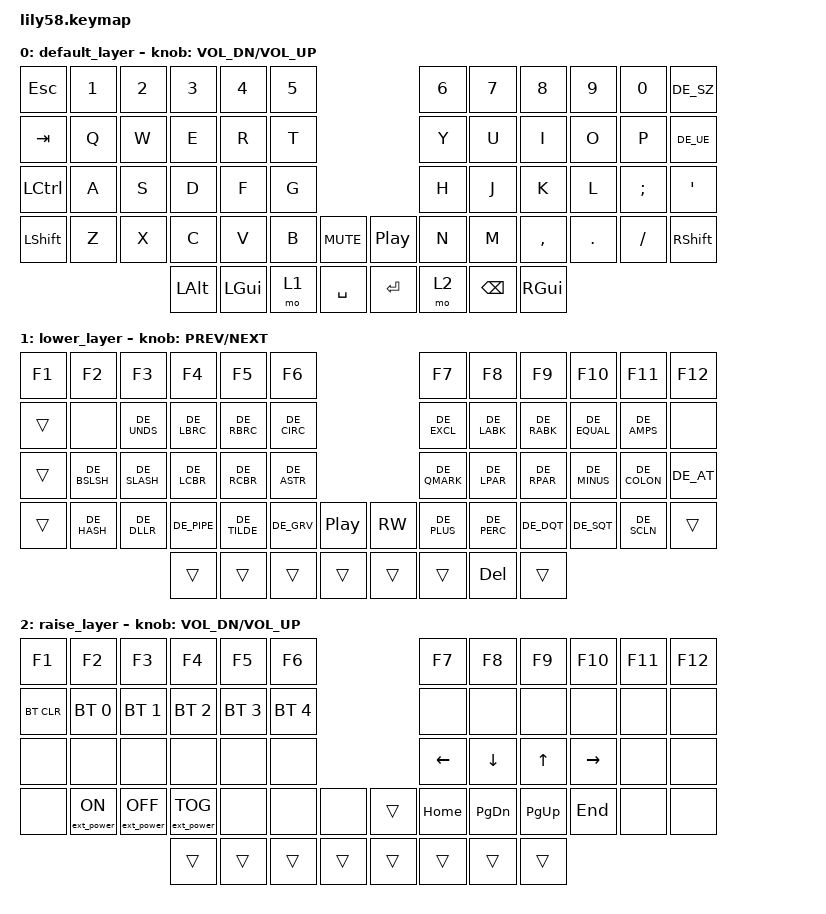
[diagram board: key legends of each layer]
/*
 * Copyright (c) 2020 The ZMK Contributors
 *
 * SPDX-License-Identifier: MIT
 */

#include <behaviors.dtsi>
#include <dt-bindings/zmk/keys.h>
#include <dt-bindings/zmk/bt.h>
#include <dt-bindings/zmk/ext_power.h>
#include "german.keycodes"

/ {
	keymap {
		compatible = "zmk,keymap";

		default_layer {
// ------------------------------------------------------------------------------------------------------------
// |  ESC  |  1  |  2  |  3   |  4   |  5   |                   |  6   |  7    |  8    |  9   |   0   |   `   |
// |  TAB  |  Q  |  W  |  E   |  R   |  T   |                   |  Y   |  U    |  I    |  O   |   P   |   -   |
// |  CTRL |  A  |  S  |  D   |  F   |  G   |                   |  H   |  J    |  K    |  L   |   ;   |   '   |
// | SHIFT |  Z  |  X  |  C   |  V   |  B   |  MUTE  |  |       |  N   |  M    |  ,    |  .   |   /   | SHIFT |
//                     | ALT  | GUI  | LOWER|  SPACE |  | ENTER | RAISE| BSPC  | GUI   |
			bindings = <
&kp ESC   &kp N1 &kp N2 &kp N3   &kp N4   &kp N5                       &kp N6 &kp N7   &kp N8    &kp N9  &kp N0   &kp DE_SZ
&kp TAB   &kp Q  &kp W  &kp E    &kp R    &kp T                        &kp Y  &kp U    &kp I     &kp O   &kp P    &kp DE_UE
&kp LCTRL &kp A  &kp S  &kp D    &kp F    &kp G                        &kp H  &kp J    &kp K     &kp L   &kp SEMI &kp SQT
&kp LSHFT &kp Z  &kp X  &kp C    &kp V    &kp B  &kp C_MUTE   &kp C_PP &kp N  &kp M    &kp COMMA &kp DOT &kp FSLH &kp RSHFT
                        &kp LALT &kp LGUI &mo 1  &kp SPACE    &kp RET  &mo 2  &kp BSPC &kp RGUI
			>;

			sensor-bindings = <&inc_dec_kp C_VOL_DN C_VOL_UP>;
		};

		lower_layer {
// ------------------------------------------------------------------------------------------------------------
// |  F1   |  F2 |  F3 |  F4  |  F5  |  F6  |                   |  F7  |  F8   |  F9   |  F10 |  F11  |  F12  |
// |       |     |  _  |  [   |  ]   |  ^   |                   |  !   |  <    |  >    |  =   |   &   |       |
// |       |  \  |  /  |  {   |  }   |  *   |                   |  ?   |  (    |  )    |  -   |   :   |   @   |
// |       |  #  |  $  |  |   |  ~   |  `   |        |  |       |  +   |  %    |  "    |  '   |   ;   |       |
//                     |      |      |      |        |  |       |      |       |       |
			bindings = <
&kp F1    &kp F2       &kp F3       &kp F4      &kp F5       &kp F6                        &kp F7       &kp F8      &kp F9      &kp F10      &kp F11      &kp F12
&trans    &none        &kp DE_UNDS  &kp DE_LBRC &kp DE_RBRC  &kp DE_CIRC                   &kp DE_EXCL  &kp DE_LABK &kp DE_RABK &kp DE_EQUAL &kp DE_AMPS  &none
&trans    &kp DE_BSLSH &kp DE_SLASH &kp DE_LCBR &kp DE_RCBR  &kp DE_ASTR                   &kp DE_QMARK &kp DE_LPAR &kp DE_RPAR &kp DE_MINUS &kp DE_COLON &kp DE_AT
&trans    &kp DE_HASH  &kp DE_DLLR  &kp DE_PIPE &kp DE_TILDE &kp DE_GRV  &kp C_PP &kp C_RW &kp DE_PLUS  &kp DE_PERC &kp DE_DQT  &kp DE_SQT   &kp DE_SCLN  &trans 
                                    &trans      &trans       &trans      &trans   &trans   &trans       &kp DEL     &trans

			>;

			sensor-bindings = <&inc_dec_kp C_PREV C_NEXT>;
		};

		raise_layer {
// ------------------------------------------------------------------------------------------------------------
// |  F1   |  F2 |  F3 |  F4  |  F5  |  F6  |                   |  F7  |  F8   |  F9   |  F10 |  F11  |  F12  |
// | BTCLR | BT1 | BT2 |  BT3 |  BT4 |  BT5 |                   |      |       |       |      |       |       |
// |       |     |     |      |      |      |                   |  <-  |   ^   |   v   |  ->  |       |       |
// |       |     |     |      |      |      |        |  |       | HOME | PG_DN | PG_UP |  END |       |       |
//                     |      |      |      |        |  |       |      |       |       |
 			bindings = <
&kp F1     &kp F2           &kp F3            &kp F4            &kp F5       &kp F6                     &kp F7   &kp F8    &kp F9    &kp F10   &kp F11 &kp F12
&bt BT_CLR &bt BT_SEL 0     &bt BT_SEL 1      &bt BT_SEL 2      &bt BT_SEL 3 &bt BT_SEL 4               &none    &none     &none     &none     &none   &none 
&none      &none            &none             &none             &none        &none                      &kp LEFT &kp DOWN  &kp UP    &kp RIGHT &none   &none
&none      &ext_power EP_ON &ext_power EP_OFF &ext_power EP_TOG &none        &none        &none  &trans &kp HOME &kp PG_DN &kp PG_UP &kp END   &none   &none 
                                              &trans            &trans       &trans       &trans &trans &trans   &trans    &trans
			>;

			sensor-bindings = <&inc_dec_kp C_VOL_DN C_VOL_UP>;
		};
	};
};
